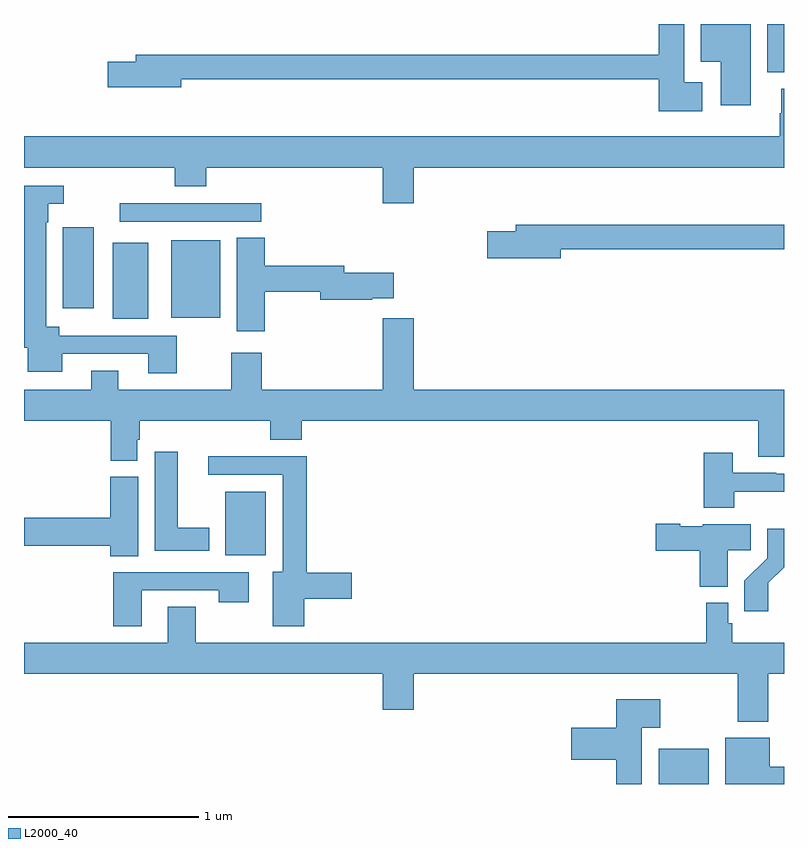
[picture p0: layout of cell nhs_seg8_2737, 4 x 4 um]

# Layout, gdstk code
import gdstk
lib = gdstk.Library(unit=1e-6, precision=1e-09)
def R(c, l, rs):  # rectangles x0, y0, x1, y1
    for r in rs: c.add(gdstk.rectangle(r[:2], r[2:], *l))
def P(c, l, *ps):  # polygons
    for p in ps: c.add(gdstk.Polygon(p, *l))
L2000_40 = (2000, 40)

nhs_seg8_2737 = lib.new_cell('nhs_seg8_2737')
R(nhs_seg8_2737, L2000_40, [(286.34,1135.9,286.603,1136.086), (284.06,1137.104,284.272,1137.439), (283.466,1138.349,283.654,1138.75), (283.775,1138.355,284.032,1138.762), (283.205,1138.404,283.366,1138.831), (283.503,1138.86,284.248,1138.956), (286.913,1139.645,287,1139.9)])
P(nhs_seg8_2737, L2000_40, [(286.57,1139.593),(286.474,1139.593),(286.474,1139.9),(286.34,1139.9),(286.34,1139.738),(283.589,1139.738),(283.589,1139.702),(283.44,1139.702),(283.44,1139.567),(283.828,1139.567),(283.828,1139.61),(286.34,1139.61),(286.34,1139.441),(286.57,1139.441)],
  [(286.825,1139.9),(286.562,1139.9),(286.562,1139.702),(286.667,1139.702),(286.667,1139.472),(286.825,1139.472)],
  [(285.052,1139.144),(287,1139.144),(287,1139.56),(286.985,1139.56),(286.985,1139.429),(286.978,1139.429),(286.978,1139.308),(283,1139.308),(283,1139.144),(283.793,1139.144),(283.793,1139.045),(283.958,1139.045),(283.958,1139.144),(284.888,1139.144),(284.888,1138.956),(285.052,1138.956)],
  [(283.803,1138.26),(283.186,1138.26),(283.186,1138.306),(283.116,1138.306),(283.116,1138.856),(283.128,1138.856),(283.128,1138.953),(283.21,1138.953),(283.21,1139.049),(283,1139.049),(283,1138.196),(283.019,1138.196),(283.019,1138.07),(283.201,1138.07),(283.201,1138.164),(283.655,1138.164),(283.655,1138.062),(283.803,1138.062)],
  [(285.826,1138.714),(287,1138.714),(287,1138.843),(285.587,1138.843),(285.587,1138.809),(285.438,1138.809),(285.438,1138.667),(285.826,1138.667)],
  [(284.267,1138.492),(284.558,1138.492),(284.558,1138.45),(284.834,1138.45),(284.834,1138.457),(284.947,1138.457),(284.947,1138.592),(284.686,1138.592),(284.686,1138.628),(284.267,1138.628),(284.267,1138.775),(284.12,1138.775),(284.12,1138.284),(284.267,1138.284)],
  [(283.597,1137.711),(283.61,1137.711),(283.61,1137.812),(284.297,1137.812),(284.297,1137.713),(284.462,1137.713),(284.462,1137.812),(286.865,1137.812),(286.865,1137.622),(287,1137.622),(287,1137.976),(285.052,1137.976),(285.052,1138.351),(284.888,1138.351),(284.888,1137.976),(284.252,1137.976),(284.252,1138.171),(284.092,1138.171),(284.092,1137.976),(283.495,1137.976),(283.495,1138.075),(283.355,1138.075),(283.355,1137.976),(283,1137.976),(283,1137.812),(283.457,1137.812),(283.457,1137.601),(283.597,1137.601)],
  [(283.975,1137.25),(283.81,1137.25),(283.81,1137.649),(283.688,1137.649),(283.688,1137.128),(283.975,1137.128)],
  [(286.737,1137.438),(287,1137.438),(287,1137.534),(286.958,1137.534),(286.958,1137.537),(286.729,1137.537),(286.729,1137.643),(286.577,1137.643),(286.577,1137.353),(286.737,1137.353)],
  [(284.476,1136.876),(284.725,1136.876),(284.725,1137.011),(284.489,1137.011),(284.489,1137.626),(283.971,1137.626),(283.971,1137.528),(284.363,1137.528),(284.363,1137.016),(284.309,1137.016),(284.309,1136.73),(284.476,1136.73)],
  [(283.6,1137.516),(283.454,1137.516),(283.454,1137.302),(283,1137.302),(283,1137.155),(283.454,1137.155),(283.454,1137.1),(283.6,1137.1)],
  [(286.705,1137.13),(286.826,1137.13),(286.826,1137.268),(286.572,1137.268),(286.572,1137.256),(286.455,1137.256),(286.455,1137.269),(286.326,1137.269),(286.326,1137.127),(286.556,1137.127),(286.556,1136.939),(286.705,1136.939)],
  [(286.918,1136.959),(287,1137.041),(287,1137.244),(286.911,1137.244),(286.911,1137.089),(286.792,1136.97),(286.792,1136.808),(286.918,1136.808)],
  [(283.621,1136.919),(284.026,1136.919),(284.026,1136.856),(284.182,1136.856),(284.182,1137.015),(283.469,1137.015),(283.469,1136.73),(283.621,1136.73)],
  [(286.727,1136.745),(286.707,1136.745),(286.707,1136.854),(286.591,1136.854),(286.591,1136.644),(283.905,1136.644),(283.905,1136.834),(283.757,1136.834),(283.757,1136.644),(283,1136.644),(283,1136.48),(284.888,1136.48),(284.888,1136.292),(285.052,1136.292),(285.052,1136.48),(286.756,1136.48),(286.756,1136.228),(286.916,1136.228),(286.916,1136.48),(287,1136.48),(287,1136.644),(286.727,1136.644)],
  [(286.252,1136.195),(286.348,1136.195),(286.348,1136.347),(286.118,1136.347),(286.118,1136.197),(285.879,1136.197),(285.879,1136.027),(286.118,1136.027),(286.118,1135.9),(286.252,1135.9)],
  [(287,1135.991),(286.924,1135.991),(286.924,1136.143),(286.691,1136.143),(286.691,1135.9),(287,1135.9)])

lib.write_gds('nhs_seg8_2737.gds')
